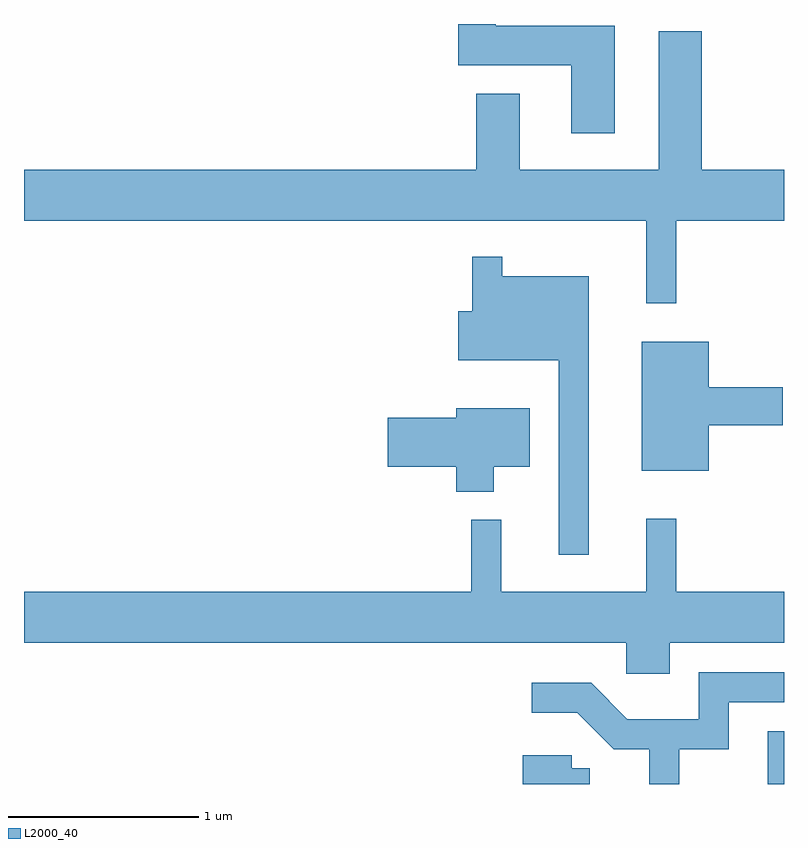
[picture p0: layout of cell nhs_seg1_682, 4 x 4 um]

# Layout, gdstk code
import gdstk
lib = gdstk.Library(unit=1e-6, precision=1e-09)
def R(c, l, rs):  # rectangles x0, y0, x1, y1
    for r in rs: c.add(gdstk.rectangle(r[:2], r[2:], *l))
def P(c, l, *ps):  # polygons
    for p in ps: c.add(gdstk.Polygon(p, *l))
L2000_40 = (2000, 40)

nhs_seg1_682 = lib.new_cell('nhs_seg1_682')
R(nhs_seg1_682, L2000_40, [(209.526,907.712,209.611,907.989)])
P(nhs_seg1_682, L2000_40, [(208.719,911.704),(208.094,911.704),(208.094,911.712),(207.896,911.712),(207.896,911.496),(208.491,911.496),(208.491,911.136),(208.719,911.136)],
  [(209.044,910.676),(209.611,910.676),(209.611,910.944),(209.179,910.944),(209.179,911.674),(208.951,911.674),(208.951,910.944),(208.219,910.944),(208.219,911.344),(207.991,911.344),(207.991,910.944),(205.611,910.944),(205.611,910.676),(208.886,910.676),(208.886,910.243),(209.044,910.243)],
  [(208.584,910.384),(208.129,910.384),(208.129,910.488),(207.971,910.488),(207.971,910.199),(207.896,910.199),(207.896,909.941),(208.426,909.941),(208.426,908.918),(208.584,908.918)],
  [(209.214,909.601),(209.604,909.601),(209.604,909.799),(209.214,909.799),(209.214,910.039),(208.861,910.039),(208.861,909.361),(209.214,909.361)],
  [(208.084,909.381),(208.274,909.381),(208.274,909.689),(207.886,909.689),(207.886,909.639),(207.526,909.639),(207.526,909.381),(207.886,909.381),(207.886,909.251),(208.084,909.251)],
  [(209.009,908.456),(209.611,908.456),(209.611,908.724),(209.044,908.724),(209.044,909.108),(208.886,909.108),(208.886,908.724),(208.124,908.724),(208.124,909.103),(207.966,909.103),(207.966,908.724),(205.611,908.724),(205.611,908.456),(208.781,908.456),(208.781,908.291),(209.009,908.291)],
  [(209.059,907.896),(209.319,907.896),(209.319,908.141),(209.611,908.141),(209.611,908.299),(209.161,908.299),(209.161,908.054),(208.787,908.054),(208.597,908.244),(208.283,908.244),(208.283,908.086),(208.524,908.086),(208.714,907.896),(208.901,907.896),(208.901,907.712),(209.059,907.712)],
  [(208.589,907.794),(208.494,907.794),(208.494,907.864),(208.236,907.864),(208.236,907.712),(208.589,907.712)])

lib.write_gds('nhs_seg1_682.gds')
